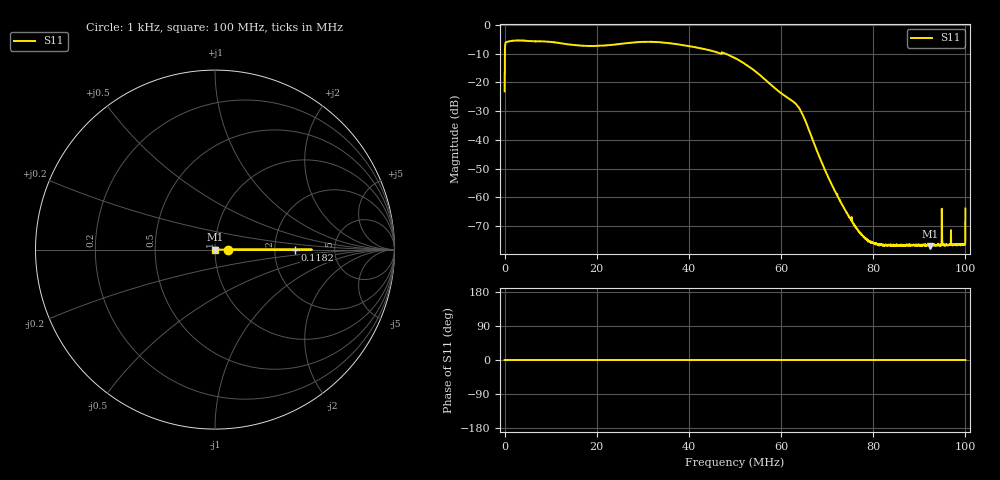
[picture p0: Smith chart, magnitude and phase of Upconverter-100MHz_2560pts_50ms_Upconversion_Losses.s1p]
! ListType=Lin
! Comment=Upconverter_100MHz_2560pts_50ms
# MHz S DB R 50
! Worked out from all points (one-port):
!   2560 points, 1 kHz to 100 MHz, reference 50 ohm
!   lowest |S11| = -76.9 dB at 92.38 MHz (marker M1), VSWR 1.00, Z = 50 + j0 ohm
!   |S11| at or under -10 dB: start of sweep to 72.7 kHz; 47.01612 MHz to 47.09511 MHz (78.99 kHz wide, 0.168 % of centre); 47.95 MHz to end of sweep
!   S11 on the Smith chart (normalised r, x): 1 kHz: 1.15, +0.00; 118.2 kHz: 2.61, +0.00; 100 MHz: 1.00, +0.00
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0.001  -23.09 0.0
0.1182333  -7.00 0.0
0.5090109  -5.88 0.0
0.7043998  -5.79 0.0
3.517999  -5.41 0.0
12.50588  -6.43 0.0
18.7974  -7.32 0.0
25.01077  -6.58 0.0
31.26321  -5.84 0.0
37.51565  -6.72 0.0
47.59772  -9.79 0.0
50.02054  -11.55 0.0
56.78099  -19.33 0.0
62.52542  -26.51 0.0
64.59655  -30.93 0.0
70.06743  -52.40 0.0
75.03031  -67.46 0.0
77.29682  -72.67 0.0
79.64148  -75.85 0.0
82.14246  -76.40 0.0
87.53519  -76.49 0.0
92.38084  -76.94 0.0
94.3738  -76.75 0.0
94.49104  -76.47 0.0
95.35075  -76.36 0.0
95.50706  -76.42 0.0
99.49299  -76.56 0.0
100.001  -63.86 0.0
